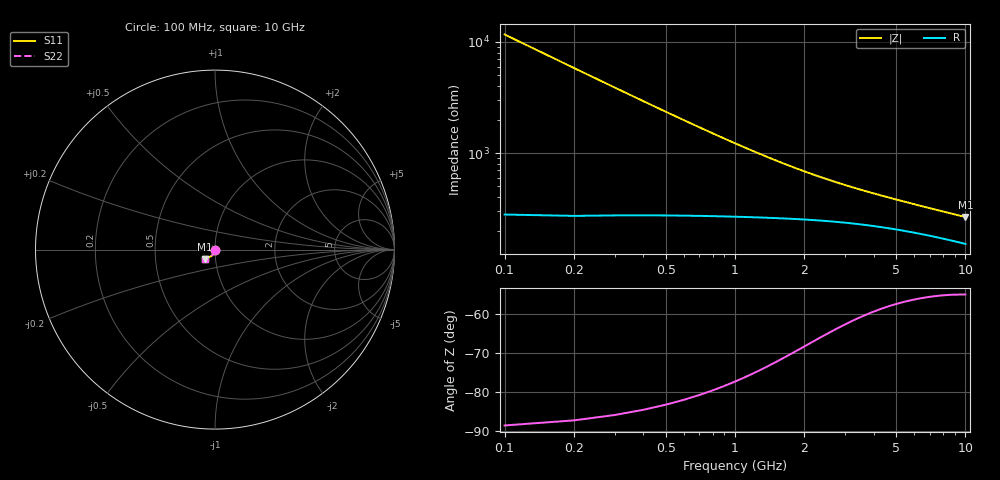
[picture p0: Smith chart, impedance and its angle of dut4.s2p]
! Touchstone file exported from HFSS 2024.1.0
!  File:  C:/UserFiles/LocalFiles/RDL_TSV_Batchsim/temp_TSV1_4_1778745891.aedt
!  Generated:  04:09:13 PM May 14, 2026
!  Design:  TSV1
!  Project:  temp_TSV1_4_1778745891
!  Setup:  Setup1
!  Solution:  Sweep
! Variables:
!  dtsv = 18.04um
!  hbump = 3um
!  htsv = 62.18um
!  lrdl = 252.1521522um
!  p = 40
!  p1 = 41.74um
!  t = 500um
!  trdl = 3um
!  wrdl = 24.89489489um
# GHz S MA R 50.000000
! Terminal data exported
! Port[1] = TSV22_T1
! Port[2] = TSV22_T2
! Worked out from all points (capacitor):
!   100 points, 100 MHz to 10 GHz, reference 50 ohm
!   read as one part in shunt: C = 137 fF near 100 MHz
!   lowest |Z| = 266 ohm at 10 GHz (marker M1)
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0.1  0.001945 -89.4  0.9999 -0.1  0.9999 -0.1  0.001945 -89.4
! Gamma 0 0 0 0
! Port Impedance 50 0 50 0
0.2  0.003911 -91.8  0.9997 -0.3  0.9997 -0.3  0.003911 -91.8
0.3  0.005863 -93.7  0.9994 -0.4  0.9994 -0.4  0.005863 -93.7
0.4  0.007794 -95.3  0.999 -0.5  0.999 -0.5  0.007794 -95.3
0.5  0.009698 -96.9  0.9985 -0.7  0.9985 -0.7  0.009698 -96.9
0.6  0.01157 -98.5  0.998 -0.8  0.998 -0.8  0.01157 -98.5
0.7  0.01341 -99.9  0.9974 -0.9  0.9974 -0.9  0.01341 -99.9
0.8  0.01521 -101.4  0.9967 -1.0  0.9967 -1.0  0.01521 -101.4
0.9  0.01697 -102.7  0.9959 -1.1  0.9959 -1.1  0.01697 -102.7
1.1  0.02034 -105.4  0.9943 -1.3  0.9943 -1.3  0.02034 -105.4
1.4  0.02503 -109.0  0.9916 -1.6  0.9916 -1.6  0.02503 -109.0
1.6  0.02791 -111.2  0.9897 -1.8  0.9897 -1.8  0.02791 -111.2
1.8  0.03059 -113.2  0.9878 -2.0  0.9878 -2.0  0.03059 -113.2
2.1  0.03427 -115.9  0.9849 -2.2  0.9849 -2.2  0.03427 -115.9
2.5  0.0386 -118.9  0.9813 -2.4  0.9813 -2.4  0.0386 -118.9
2.9  0.0424 -121.5  0.9779 -2.6  0.9779 -2.6  0.0424 -121.5
3.4  0.04654 -124.0  0.9741 -2.9  0.9741 -2.9  0.04654 -124.0
4.2  0.05217 -127.1  0.9688 -3.2  0.9688 -3.2  0.05217 -127.1
5.1  0.05751 -129.5  0.9639 -3.5  0.9639 -3.5  0.05751 -129.5
6.7  0.06537 -132.2  0.9568 -4.1  0.9568 -4.1  0.06537 -132.2
8.4  0.07228 -134.0  0.9509 -4.6  0.9509 -4.6  0.07228 -134.0
10  0.07788 -135.1  0.9463 -5.0  0.9463 -5.0  0.07788 -135.1
